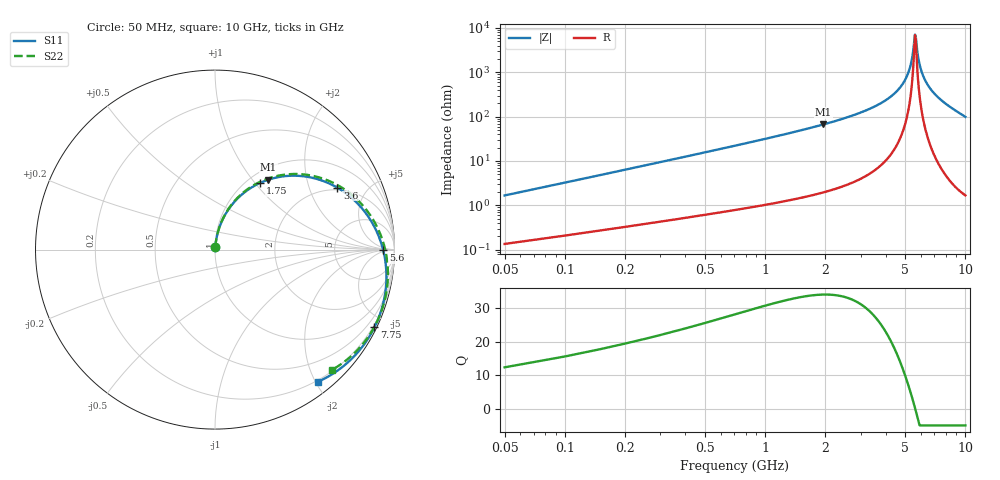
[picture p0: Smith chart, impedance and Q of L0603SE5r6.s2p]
!	AVX	Thin	Film	Operation	Date:		2004
!	Description:		"Series,"	Thin	"Film,"	"LGA,"	RF	Inductors
!	Part	Number:	L06035r6nH
!	50	MHz	-	10	GHz
!	Serial	Measurements
#	mhz	S	db	R	50
!	S11	S11	S21	S21	S12	S12	S22	S22
!	dB	Phase	dB	Phase	dB	Phase	dB	Phase
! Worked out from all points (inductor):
!   200 points, 50 MHz to 10 GHz, reference 50 ohm
!   read as 1/Y11, port 2 shorted: L = 5.1 nH near 100 MHz
!   highest Q = 34.1 at 1.95 GHz (marker M1), where L = 5.44 nH
!   self-resonance near 5.6 GHz
!   S11 on the Smith chart (normalised r, x): 50 MHz: 1.00, +0.03; 1.75 GHz: 1.14, +1.06; 3.6 GHz: 1.89, +3.13; 5.6 GHz: 31, -1; 7.75 GHz: 0.11, -4.33; 10 GHz: 0.18, -2.04
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50  -36.24 83.9  -0.01 -1.0  -0.01 -1.0  -36.24 84.0
100  -30.50 84.0  -0.02 -2.0  -0.02 -2.0  -30.50 84.0
200  -24.71 82.8  -0.04 -3.9  -0.04 -3.9  -24.71 82.9
500  -17.04 77.9  -0.14 -9.6  -0.14 -9.6  -17.04 78.1
1000  -11.34 69.0  -0.42 -18.7  -0.42 -18.7  -11.34 69.5
1750  -6.98 56.0  -1.10 -31.8  -1.10 -31.8  -6.98 56.8
1950  -6.19 52.6  -1.34 -35.2  -1.34 -35.2  -6.19 53.6
3400  -2.64 29.8  -3.69 -57.7  -3.69 -57.7  -2.64 31.4
3600  -2.34 26.8  -4.11 -60.6  -4.11 -60.6  -2.34 28.6
5050  -0.88 6.9  -8.04 -79.7  -8.04 -79.7  -0.88 9.5
5600  -0.57 -0.1  -10.14 -86.2  -10.14 -86.2  -0.57 2.7
6700  -0.20 -13.6  -16.83 -97.0  -16.83 -97.0  -0.20 -10.1
7300  -0.11 -20.7  -25.08 -96.8  -25.08 -96.8  -0.11 -16.8
7500  -0.10 -23.1  -31.15 -86.7  -31.15 -86.7  -0.10 -19.0
7650  -0.10 -24.8  -38.53 -39.4  -38.53 -39.4  -0.10 -20.6
7700  -0.10 -25.4  -38.45 -4.5  -38.45 -4.5  -0.10 -21.2
7750  -0.10 -26.0  -36.01 20.6  -36.01 20.6  -0.10 -21.7
7850  -0.10 -27.1  -31.08 41.2  -31.08 41.2  -0.10 -22.8
8000  -0.11 -28.9  -26.29 50.0  -26.29 50.0  -0.11 -24.5
8350  -0.14 -32.9  -20.20 52.9  -20.20 52.9  -0.14 -28.2
9000  -0.26 -40.4  -14.49 48.8  -14.49 48.8  -0.26 -35.2
10000  -0.59 -52.0  -9.78 39.1  -9.78 39.1  -0.59 -45.8
